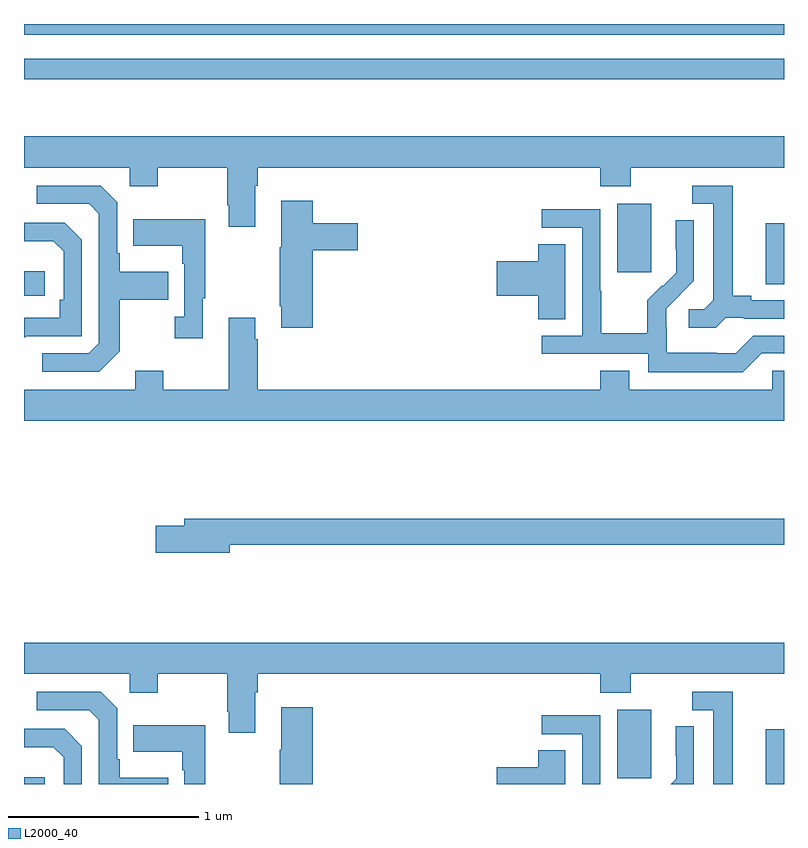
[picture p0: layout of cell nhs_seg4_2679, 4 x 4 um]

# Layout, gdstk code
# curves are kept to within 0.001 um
import gdstk
lib = gdstk.Library(unit=1e-6, precision=1e-09)
def R(c, l, rs):  # rectangles x0, y0, x1, y1
    for r in rs: c.add(gdstk.rectangle(r[:2], r[2:], *l))
def P(c, l, *ps):  # polygons
    for p in ps: c.add(gdstk.Polygon(p, *l))
L2000_40 = (2000, 40)

nhs_seg4_2679 = lib.new_cell('nhs_seg4_2679')
R(nhs_seg4_2679, L2000_40, [(251,802.9,251.11,802.936), (254.903,802.9,255,803.187), (254.123,802.929,254.302,803.29), (251,805.47,251.11,805.6), (254.903,805.531,255,805.851), (254.123,805.593,254.302,805.954), (251,806.61,255,806.718), (251,806.844,255,806.9)])
P(nhs_seg4_2679, L2000_40, [(252.217,806.048),(252.23,806.048),(252.23,806.144),(254.033,806.144),(254.033,806.045),(254.193,806.045),(254.193,806.144),(255,806.144),(255,806.308),(251,806.308),(251,806.144),(251.556,806.144),(251.556,806.045),(251.703,806.045),(251.703,806.144),(252.07,806.144),(252.07,805.945),(252.077,805.945),(252.077,805.833),(252.217,805.833)],
  [(254.694,805.353),(254.788,805.353),(254.788,805.35),(255,805.35),(255,805.446),(254.827,805.446),(254.827,805.469),(254.731,805.469),(254.731,806.049),(254.517,806.049),(254.517,805.953),(254.627,805.953),(254.627,805.445),(254.58,805.398),(254.499,805.398),(254.499,805.301),(254.642,805.301)],
  [(251.503,805.177),(251.503,805.45),(251.759,805.45),(251.759,805.597),(251.503,805.597),(251.503,805.693),(251.49,805.693),(251.49,805.962),(251.403,806.049),(251.067,806.049),(251.067,805.953),(251.343,805.953),(251.394,805.902),(251.394,805.221),(251.34,805.167),(251.097,805.167),(251.097,805.071),(251.397,805.071)],
  [(252.521,805.709),(252.757,805.709),(252.757,805.851),(252.521,805.851),(252.521,805.969),(252.353,805.969),(252.353,805.725),(252.346,805.725),(252.346,805.414),(252.353,805.414),(252.353,805.302),(252.521,805.302)],
  [(254.883,805.167),(254.999,805.167),(255,805.164),(255,805.26),(254.838,805.26),(254.745,805.167),(254.645,805.167),(254.645,805.171),(254.382,805.171),(254.382,805.305),(254.38,805.305),(254.38,805.402),(254.526,805.55),(254.526,805.868),(254.43,805.868),(254.43,805.714),(254.432,805.714),(254.432,805.592),(254.361,805.521),(254.358,805.524),(254.281,805.447),(254.281,805.273),(254.037,805.273),(254.037,805.496),(254.034,805.496),(254.034,805.926),(253.725,805.926),(253.725,805.827),(253.938,805.827),(253.938,805.26),(253.725,805.26),(253.725,805.164),(254.286,805.164),(254.286,805.067),(254.783,805.067)],
  [(251.941,805.457),(251.953,805.457),(251.953,805.873),(251.575,805.873),(251.575,805.733),(251.832,805.733),(251.832,805.637),(251.844,805.637),(251.844,805.358),(251.793,805.358),(251.793,805.245),(251.941,805.245)],
  [(251.009,805.257),(251.304,805.257),(251.304,805.764),(251.214,805.854),(251,805.854),(251,805.757),(251.155,805.757),(251.208,805.704),(251.208,805.45),(251.188,805.45),(251.188,805.353),(251,805.353),(251,805.252),(251.009,805.252)],
  [(253.849,805.742),(253.706,805.742),(253.706,805.652),(253.488,805.652),(253.488,805.469),(253.706,805.469),(253.706,805.345),(253.849,805.345)],
  [(255,805.074),(254.937,805.074),(254.937,804.976),(254.185,804.976),(254.185,805.075),(254.033,805.075),(254.033,804.976),(252.23,804.976),(252.23,805.241),(252.217,805.241),(252.217,805.354),(252.077,805.354),(252.077,804.976),(251.733,804.976),(251.733,805.075),(251.585,805.075),(251.585,804.976),(251,804.976),(251,804.812),(255,804.812)],
  [(252.082,804.16),(255,804.16),(255,804.296),(251.843,804.296),(251.843,804.26),(251.694,804.26),(251.694,804.118),(252.082,804.118)],
  [(252.217,803.384),(252.23,803.384),(252.23,803.48),(254.033,803.48),(254.033,803.381),(254.193,803.381),(254.193,803.48),(255,803.48),(255,803.644),(251,803.644),(251,803.48),(251.556,803.48),(251.556,803.381),(251.703,803.381),(251.703,803.48),(252.07,803.48),(252.07,803.281),(252.077,803.281),(252.077,803.169),(252.217,803.169)],
  [(251.759,802.933),(251.503,802.933),(251.503,803.029),(251.49,803.029),(251.49,803.298),(251.403,803.385),(251.067,803.385),(251.067,803.289),(251.343,803.289),(251.394,803.238),(251.394,802.9),(251.759,802.9)],
  [(254.731,803.385),(254.517,803.385),(254.517,803.289),(254.627,803.289),(254.627,802.9),(254.731,802.9)],
  [(252.521,803.305),(252.353,803.305),(252.353,803.081),(252.346,803.081),(252.346,802.9),(252.521,802.9)],
  [(254.034,803.262),(253.725,803.262),(253.725,803.163),(253.938,803.163),(253.938,802.9),(254.034,802.9)],
  [(251.953,803.209),(251.575,803.209),(251.575,803.069),(251.832,803.069),(251.832,802.973),(251.844,802.973),(251.844,802.9),(251.953,802.9)],
  [(254.526,803.204),(254.43,803.204),(254.43,803.05),(254.432,803.05),(254.432,802.928),(254.404,802.9),(254.526,802.9)],
  [(251.304,803.1),(251.214,803.19),(251,803.19),(251,803.093),(251.155,803.093),(251.208,803.04),(251.208,802.9),(251.304,802.9)],
  [(253.849,803.078),(253.706,803.078),(253.706,802.988),(253.488,802.988),(253.488,802.9),(253.849,802.9)])

lib.write_gds('nhs_seg4_2679.gds')
